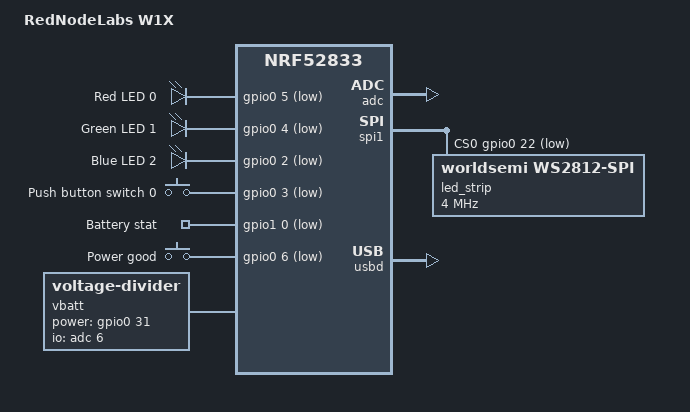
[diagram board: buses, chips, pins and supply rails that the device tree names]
/*
 * Copyright (c) 2023 RedNodeLabs.
 *
 * SPDX-License-Identifier: Apache-2.0
 */

/dts-v1/;
#include <zephyr/dt-bindings/led/led.h>
#include <nordic/nrf52833_qiaa.dtsi>
#include "rnl_w1x-pinctrl.dtsi"

/ {
	model = "RedNodeLabs W1X";

	chosen {
		zephyr,sram           = &sram0;
		zephyr,flash          = &flash0;
		zephyr,code-partition = &slot0_partition;
	};

	leds {
		compatible = "gpio-leds";
		led0_red: led_0 {
			gpios = <&gpio0 5 GPIO_ACTIVE_LOW>;
			label = "Red LED 0";
		};
		led1_green: led_1 {
			gpios = <&gpio0 4 GPIO_ACTIVE_LOW>;
			label = "Green LED 1";
		};
		led2_blue: led_2 {
			gpios = <&gpio0 2 GPIO_ACTIVE_LOW>;
			label = "Blue LED 2";
		};
	};

	buttons {
		compatible = "gpio-keys";
		button0: button_0 {
			gpios = <&gpio0 3 (GPIO_PULL_UP | GPIO_ACTIVE_LOW)>;
			label = "Push button switch 0";
		};
	};

	battery {
		compatible = "gpio-keys";
		battery_stat: battery_stat {
			gpios = <&gpio1 0 (GPIO_PULL_UP | GPIO_ACTIVE_LOW)>;
			label = "Battery stat";
		};
		power_good: power_good {
			gpios = <&gpio0 6 (GPIO_PULL_UP | GPIO_ACTIVE_LOW)>;
			label = "Power good";
		};
	};

	vbatt {
		compatible = "voltage-divider";
		io-channels = <&adc 6>;
		output-ohms = <180000>;
		full-ohms = <(1500000 + 180000)>;
		power-gpios = <&gpio0 31 0>;
	};

	/* These aliases are provided for compatibility with samples */
	aliases {
		sw0             = &button0;
		led0            = &led0_red;
		led1            = &led1_green;
		led2            = &led2_blue;
		led0-red        = &led0_red;
		led1-green      = &led1_green;
		led2-blue       = &led2_blue;
		mcuboot-button0 = &button0;
		mcuboot-led0    = &led0_red;
		watchdog0       = &wdt0;
		led-strip       = &led_strip;
		battery-stat    = &battery_stat;
		power-good      = &power_good;
	};

};

&adc {
	status = "okay";
};

&gpiote {
	status = "okay";
};

&gpio0 {
	status = "okay";
};

&gpio1 {
	status = "okay";
};

&spi1 {
	compatible = "nordic,nrf-spi";
	status = "okay";
	cs-gpios = <&gpio0 22 GPIO_ACTIVE_LOW>;
	pinctrl-0 = <&spi1_default>;
	pinctrl-1 = <&spi1_sleep>;
	pinctrl-names = "default", "sleep";
};

&flash0 {

	partitions {
		compatible = "fixed-partitions";
		#address-cells = <1>;
		#size-cells = <1>;

		boot_partition: partition@0 {
			label = "mcuboot";
			reg = <0x00000000 0xC000>;
		};
		slot0_partition: partition@c000 {
			label = "image-0";
			reg = <0x0000C000 0x37000>;
		};
		slot1_partition: partition@43000 {
			label = "image-1";
			reg = <0x00043000 0x37000>;
		};
		storage_partition: partition@7a000 {
			label = "storage";
			reg = <0x0007A000 0x00006000>;
		};
	};
};

zephyr_udc0: &usbd {
	compatible = "nordic,nrf-usbd";
	status = "okay";
};

ws2812_spi: &spi1 { /* MOSI on P0.26 */
	compatible = "nordic,nrf-spim";
	led_strip: ws2812@0 {
		compatible = "worldsemi,ws2812-spi";

		/* SPI */
		reg = <0>; /* ignored, but necessary for SPI bindings */
		spi-max-frequency = <4000000>;

		/* WS2812 */
		chain-length = <6>;
		color-mapping = <LED_COLOR_ID_GREEN
				 LED_COLOR_ID_RED
				 LED_COLOR_ID_BLUE>;
		spi-one-frame = <0x70>;
		spi-zero-frame = <0x40>;
	};
};
